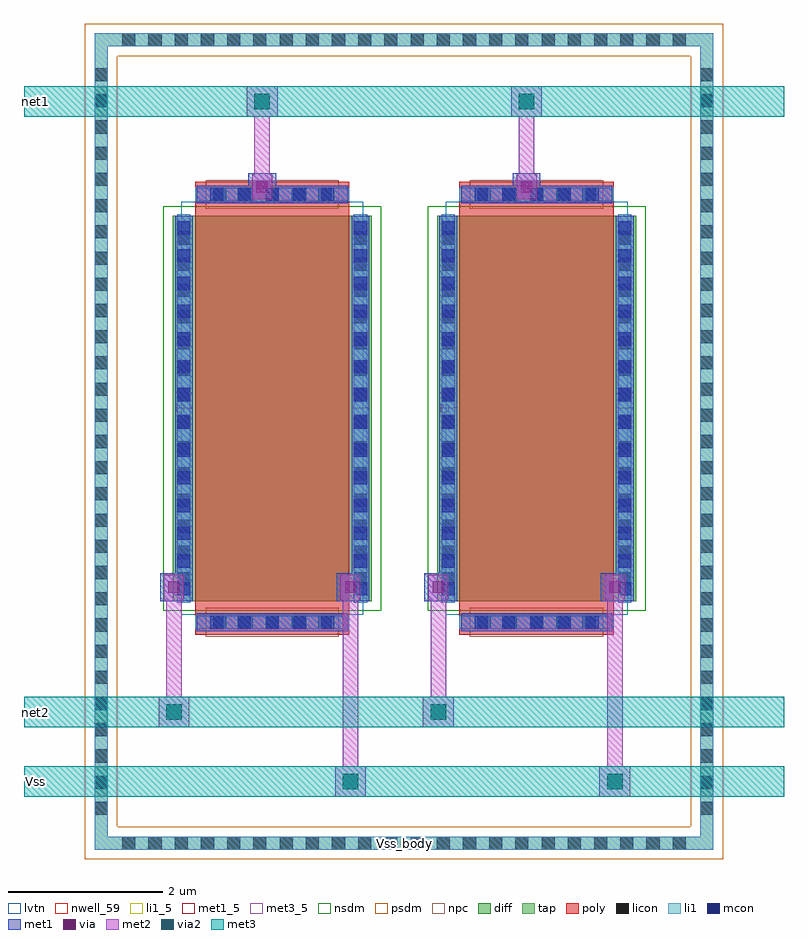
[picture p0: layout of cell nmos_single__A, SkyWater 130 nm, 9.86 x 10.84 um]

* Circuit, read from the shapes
.subckt nmos_single__A Vss Vss_body net1 net2
XM1 Vss net1 net2 Vss_body sky130_fd_pr__nfet_01v8_lvt w=5 l=2 m=2
.ends

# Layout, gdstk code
import gdstk
lib = gdstk.Library(unit=1e-6, precision=1e-09)
def R(c, l, rs):  # rectangles x0, y0, x1, y1
    for r in rs: c.add(gdstk.rectangle(r[:2], r[2:], *l))
def A(c, l, x, y, w, h, nx, ny, dx, dy):  # array of equal rectangles
    R(c, l, [(x+i*dx, y+j*dy, x+i*dx+w, y+j*dy+h) for i in range(nx) for j in range(ny)])
nwell_59 = (64, 59)
diff = (65, 20)
tap = (65, 44)
poly = (66, 20)
licon = (66, 44)
li1_5 = (67, 5)
li1 = (67, 20)
mcon = (67, 44)
met1_5 = (68, 5)
met1 = (68, 20)
via = (68, 44)
met2 = (69, 20)
via2 = (69, 44)
met3_5 = (70, 5)
met3 = (70, 20)
nsdm = (93, 44)
psdm = (94, 20)
npc = (95, 20)
lvtn = (125, 44)

sky130_fd_pr__nfet_01v8_ = lib.new_cell('sky130_fd_pr__nfet_01v8_lvt_ZCNT58')
R(sky130_fd_pr__nfet_01v8_, diff, [(-1.29,-2.5,1.29,2.5)])
R(sky130_fd_pr__nfet_01v8_, poly, [(-1,-2.94,1,2.94)])
A(sky130_fd_pr__nfet_01v8_, licon, -0.765, -2.86, 0.17, 0.17, 5, 2, 0.34, 5.55)
A(sky130_fd_pr__nfet_01v8_, licon, -1.23, -2.295, 0.17, 0.17, 1, 14, 0, 0.34)
A(sky130_fd_pr__nfet_01v8_, licon, 1.06, -2.295, 0.17, 0.17, 1, 14, 0, 0.34)
R(sky130_fd_pr__nfet_01v8_, li1, [(-1,-2.86,1,-2.69), (-1.23,-2.52,-1.06,2.52), (1.06,-2.52,1.23,2.52), (-1,2.69,1,2.86)])
A(sky130_fd_pr__nfet_01v8_, mcon, -0.805, -2.86, 0.17, 0.17, 5, 2, 0.36, 5.55)
A(sky130_fd_pr__nfet_01v8_, mcon, -1.23, -2.425, 0.17, 0.17, 1, 14, 0, 0.36)
A(sky130_fd_pr__nfet_01v8_, mcon, 1.06, -2.425, 0.17, 0.17, 1, 14, 0, 0.36)
R(sky130_fd_pr__nfet_01v8_, met1, [(-0.98,-2.89,0.98,-2.66), (-1.26,-2.5,-1.03,2.5), (1.03,-2.5,1.26,2.5), (-0.98,2.66,0.98,2.89)])
R(sky130_fd_pr__nfet_01v8_, nsdm, [(-1.415,-2.625,1.415,2.625)])
R(sky130_fd_pr__nfet_01v8_, npc, [(-0.865,-2.96,0.865,-2.59), (-0.865,2.59,0.865,2.96)])
R(sky130_fd_pr__nfet_01v8_, lvtn, [(-1.18,-2.68,1.18,2.68)])
sky130_fd_pr__nfet_01v8_.add(gdstk.Label('D', (-1.145,0), layer=67, texttype=5))
sky130_fd_pr__nfet_01v8_.add(gdstk.Label('S', (1.145,0), layer=67, texttype=5))
sky130_fd_pr__nfet_01v8_.add(gdstk.Label('G', (0,2.775), layer=67, texttype=5))

nfet_01v8_lvt_w5_l2_m2__ = lib.new_cell('nfet_01v8_lvt_W5_L2_m2__nf1_gboth_sdfull_ng')
R(nfet_01v8_lvt_w5_l2_m2__, nwell_59, [(0.05,2.89,0.15,2.99)])
R(nfet_01v8_lvt_w5_l2_m2__, met1_5, [(0.03,2.94,0.26,3.14), (2.32,2.94,2.55,3.14), (0.31,5.6,2.27,5.83)])
R(nfet_01v8_lvt_w5_l2_m2__, met1, [(0.03,2.94,0.26,3.14), (2.32,2.94,2.55,3.14), (0.31,5.6,2.27,5.83)])
nfet_01v8_lvt_w5_l2_m2__.add(gdstk.Reference(sky130_fd_pr__nfet_01v8_, (1.29,2.94)))
nfet_01v8_lvt_w5_l2_m2__.add(gdstk.Label('D', (0.145,3.04), layer=68, texttype=5))
nfet_01v8_lvt_w5_l2_m2__.add(gdstk.Label('S', (2.435,3.04), layer=68, texttype=5))
nfet_01v8_lvt_w5_l2_m2__.add(gdstk.Label('G', (1.29,5.715), layer=68, texttype=5))
nfet_01v8_lvt_w5_l2_m2__.add(gdstk.Label('B', (0.1,2.94), layer=64, texttype=59))

nmos_single__a = lib.new_cell('nmos_single__A')
R(nmos_single__a, tap, [(-0.885,-2.785,7.145,-2.615), (-0.885,-2.615,-0.715,7.635), (6.975,-2.615,7.145,7.635), (-0.885,7.635,7.145,7.805)])
A(nmos_single__a, licon, -0.525, -2.785, 0.17, 0.17, 22, 2, 0.34, 10.42)
A(nmos_single__a, licon, -0.885, -2.335, 0.17, 0.17, 1, 29, 0, 0.34)
A(nmos_single__a, licon, 6.975, -2.335, 0.17, 0.17, 1, 29, 0, 0.34)
R(nmos_single__a, li1_5, [(3.08,-2.75,3.18,-2.65)])
R(nmos_single__a, li1, [(-0.885,-2.785,7.145,-2.615), (-0.885,-2.615,-0.715,7.635), (6.975,-2.615,7.145,7.635), (-0.885,7.635,7.145,7.805)])
R(nmos_single__a, met1, [(-0.035,0.44,0.325,0.8), (2.255,0.44,2.615,0.8), (3.395,0.44,3.755,0.8), (5.685,0.44,6.045,0.8), (1.11,5.63,1.47,5.99), (4.54,5.63,4.9,5.99)])
R(nmos_single__a, via, [(0.07,0.545,0.22,0.695), (2.36,0.545,2.51,0.695), (3.5,0.545,3.65,0.695), (5.79,0.545,5.94,0.695), (1.215,5.735,1.365,5.885), (4.645,5.735,4.795,5.885)])
R(nmos_single__a, met2, [(2.235,-2.1,2.635,-1.7), (5.665,-2.1,6.065,-1.7), (2.335,-1.7,2.535,0.46), (5.765,-1.7,5.965,0.46), (-0.055,-1.2,0.345,-0.8), (3.375,-1.2,3.775,-0.8), (0.045,-0.8,0.245,0.46), (3.475,-0.8,3.675,0.46), (0.015,0.46,0.275,0.78), (2.305,0.46,2.565,0.78), (3.445,0.46,3.705,0.78), (5.735,0.46,5.995,0.78), (1.16,5.65,1.42,5.97), (4.59,5.65,4.85,5.97), (1.19,5.97,1.39,6.72), (4.62,5.97,4.82,6.72), (1.09,6.72,1.49,7.12), (4.52,6.72,4.92,7.12)])
R(nmos_single__a, via2, [(2.335,-2,2.535,-1.8), (5.765,-2,5.965,-1.8), (0.045,-1.1,0.245,-0.9), (3.475,-1.1,3.675,-0.9), (1.19,6.82,1.39,7.02), (4.62,6.82,4.82,7.02)])
R(nmos_single__a, met3_5, [(-1.7,-1.95,-1.6,-1.85), (-1.7,-1.05,-1.6,-0.95), (-1.7,6.87,-1.6,6.97)])
R(nmos_single__a, met3, [(-1.8,-2.1,8.06,-1.7), (-1.8,-1.2,8.06,-0.8), (-1.8,6.72,8.06,7.12)])
R(nmos_single__a, psdm, [(-1.01,-2.91,7.27,-2.49), (-1.01,-2.49,-0.59,7.51), (6.85,-2.49,7.27,7.51), (-1.01,7.51,7.27,7.93)])
nmos_single__a.add(gdstk.Reference(nfet_01v8_lvt_w5_l2_m2__, (3.56,0)))
nmos_single__a.add(gdstk.Reference(nfet_01v8_lvt_w5_l2_m2__, (0.13,0)))
nmos_single__a.add(gdstk.Label('net1', (-1.65,6.92), layer=70, texttype=5))
nmos_single__a.add(gdstk.Label('net2', (-1.65,-1), layer=70, texttype=5))
nmos_single__a.add(gdstk.Label('Vss', (-1.65,-1.9), layer=70, texttype=5))
nmos_single__a.add(gdstk.Label('Vss_body', (3.13,-2.7), layer=67, texttype=5))

lib.write_gds('nmos_single__A.gds')
